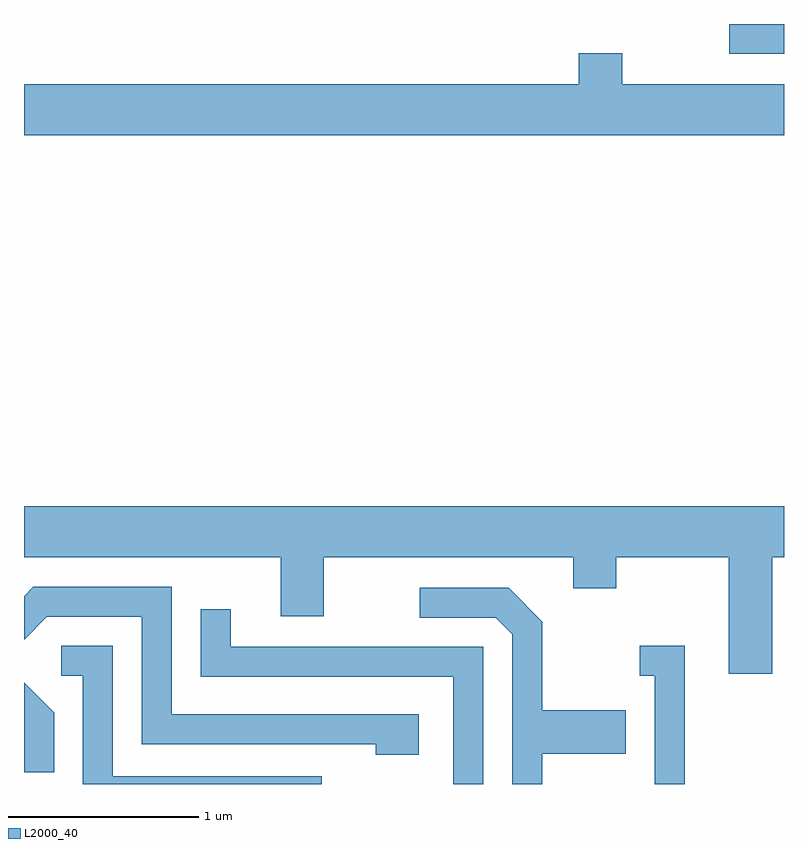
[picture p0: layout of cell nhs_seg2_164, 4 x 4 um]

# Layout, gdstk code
import gdstk
lib = gdstk.Library(unit=1e-6, precision=1e-09)
def R(c, l, rs):  # rectangles x0, y0, x1, y1
    for r in rs: c.add(gdstk.rectangle(r[:2], r[2:], *l))
def P(c, l, *ps):  # polygons
    for p in ps: c.add(gdstk.Polygon(p, *l))
L2000_40 = (2000, 40)

nhs_seg2_164 = lib.new_cell('nhs_seg2_164')
R(nhs_seg2_164, L2000_40, [(193.323,1037.646,193.611,1037.802)])
P(nhs_seg2_164, L2000_40, [(193.611,1037.484),(192.759,1037.484),(192.759,1037.649),(192.531,1037.649),(192.531,1037.484),(189.611,1037.484),(189.611,1037.216),(193.611,1037.216)],
  [(193.549,1034.996),(193.611,1034.996),(193.611,1035.264),(189.611,1035.264),(189.611,1034.996),(190.961,1034.996),(190.961,1034.686),(191.189,1034.686),(191.189,1034.996),(192.501,1034.996),(192.501,1034.831),(192.729,1034.831),(192.729,1034.996),(193.321,1034.996),(193.321,1034.381),(193.549,1034.381)],
  [(191.689,1034.169),(190.389,1034.169),(190.389,1034.839),(189.659,1034.839),(189.611,1034.791),(189.611,1034.56),(189.732,1034.681),(190.231,1034.681),(190.231,1034.011),(191.461,1034.011),(191.461,1033.956),(191.689,1033.956)],
  [(192.339,1033.961),(192.779,1033.961),(192.779,1034.189),(192.339,1034.189),(192.339,1034.657),(192.162,1034.834),(191.693,1034.834),(191.693,1034.676),(192.094,1034.676),(192.181,1034.589),(192.181,1033.802),(192.339,1033.802)],
  [(192.029,1034.524),(190.699,1034.524),(190.699,1034.723),(190.541,1034.723),(190.541,1034.366),(191.871,1034.366),(191.871,1033.802),(192.029,1033.802)],
  [(191.178,1033.844),(190.079,1033.844),(190.079,1034.529),(189.808,1034.529),(189.808,1034.371),(189.921,1034.371),(189.921,1033.802),(191.178,1033.802)],
  [(193.089,1034.529),(192.853,1034.529),(192.853,1034.371),(192.931,1034.371),(192.931,1033.802),(193.089,1033.802)],
  [(189.769,1034.177),(189.611,1034.335),(189.611,1033.863),(189.769,1033.863)])

lib.write_gds('nhs_seg2_164.gds')
